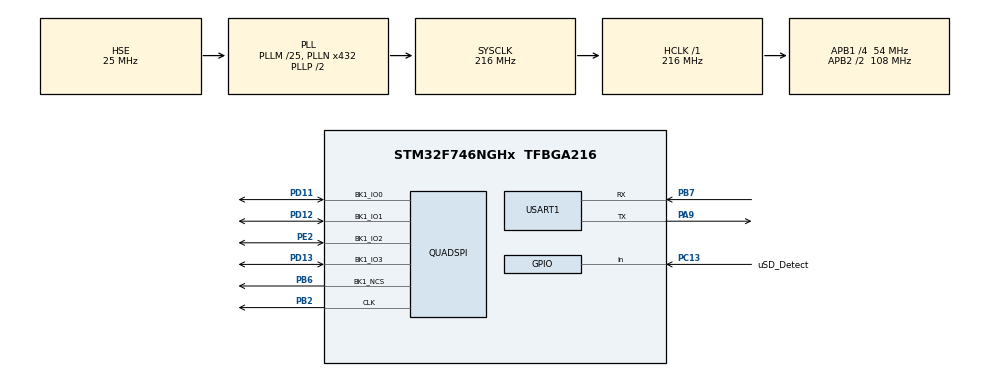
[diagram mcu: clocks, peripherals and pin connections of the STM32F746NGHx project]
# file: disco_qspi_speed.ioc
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CORTEX_M7.AccessPermission_Spec=MPU_REGION_FULL_ACCESS
CORTEX_M7.CPU_DCache=Enabled
CORTEX_M7.CPU_ICache=Enabled
CORTEX_M7.default_mode_Activation=1
Mcu.Family=STM32F7
Mcu.Name=STM32F746NGHx
Mcu.Package=TFBGA216
NVIC.PriorityGroup=NVIC_PRIORITYGROUP_4
NVIC.QUADSPI_IRQn=true\:0\:0\:false\:false\:true\:true\:true\:true
NVIC.TIM7_IRQn=true\:15\:0\:false\:false\:true\:false\:true\:true
NVIC.TimeBase=TIM7_IRQn
NVIC.TimeBaseIP=TIM7
NVIC.USART1_IRQn=true\:0\:0\:false\:false\:true\:true\:true\:true
PA13.Mode=Serial_Wire
PA13.Signal=SYS_JTMS-SWDIO
PA14.Mode=Serial_Wire
PA14.Signal=SYS_JTCK-SWCLK
PA9.Mode=Asynchronous
PA9.Signal=USART1_TX
PB2.Mode=Single Bank 1
PB2.Signal=QUADSPI_CLK
PB6.Mode=Single Bank 1
PB6.Signal=QUADSPI_BK1_NCS
PB7.Mode=Asynchronous
PB7.Signal=USART1_RX
PC13.GPIO_Label=uSD_Detect
PC13.Signal=GPIO_Input
PC14/OSC32_IN.Mode=LSE-External-Oscillator
PC14/OSC32_IN.Signal=RCC_OSC32_IN
PC15/OSC32_OUT.Mode=LSE-External-Oscillator
PC15/OSC32_OUT.Signal=RCC_OSC32_OUT
PC2.Signal=USB_OTG_HS_ULPI_DIR
PC3.Signal=FMC_SDCKE0
PD11.Mode=Single Bank 1
PD11.Signal=QUADSPI_BK1_IO0
PD12.Mode=Single Bank 1
PD12.Signal=QUADSPI_BK1_IO1
PD13.Mode=Single Bank 1
PD13.Signal=QUADSPI_BK1_IO3
PE2.Mode=Single Bank 1
PE2.Signal=QUADSPI_BK1_IO2
PH0/OSC_IN.Mode=HSE-External-Oscillator
PH0/OSC_IN.Signal=RCC_OSC_IN
PH1/OSC_OUT.Mode=HSE-External-Oscillator
PH1/OSC_OUT.Signal=RCC_OSC_OUT
PH4.Signal=USB_OTG_HS_ULPI_NXT
ProjectManager.HeapSize=0x400
ProjectManager.StackSize=0x800
ProjectManager.TargetToolchain=STM32CubeIDE
RCC.AHBFreq_Value=216000000
RCC.APB1CLKDivider=RCC_HCLK_DIV4
RCC.APB1Freq_Value=54000000
RCC.APB1TimFreq_Value=108000000
RCC.APB2CLKDivider=RCC_HCLK_DIV2
RCC.APB2Freq_Value=108000000
RCC.APB2TimFreq_Value=216000000
RCC.CortexFreq_Value=216000000
RCC.HCLKFreq_Value=216000000
RCC.HSE_VALUE=25000000
RCC.HSI_VALUE=16000000
RCC.PLL48CLockSelection=RCC_CLK48SOURCE_PLLSAIP
RCC.PLLI2SN=100
RCC.PLLM=25
RCC.PLLN=432
RCC.PLLQ=8
RCC.PLLSAIP=RCC_PLLSAIP_DIV4
RCC.PLLSAIR=5
RCC.PLLSAIRDiv=RCC_PLLSAIDIVR_8
RCC.PLLSourceVirtual=RCC_PLLSOURCE_HSE
RCC.SDMMCClockSelection=RCC_SDMMC1CLKSOURCE_CLK48
RCC.SYSCLKFreq_VALUE=216000000
RCC.SYSCLKSource=RCC_SYSCLKSOURCE_PLLCLK
RCC.USBFreq_Value=48000000
RCC.VCOOutputFreq_Value=432000000
USART1.VirtualMode-Asynchronous=VM_ASYNC
VP_FATFS_VS_Generic.Mode=User_defined
VP_SYS_VS_tim7.Mode=TIM7
board=STM32F746G-DISCO

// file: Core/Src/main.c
/* USER CODE BEGIN Header */
/**
 ******************************************************************************
 * @file           : main.c
 * @brief          : Main program body
 ******************************************************************************
 * @attention
 *
 * Copyright (c) 2025 STMicroelectronics.
 * All rights reserved.
 *
 * This software is licensed under terms that can be found in the LICENSE file
 * in the root directory of this software component.
 * If no LICENSE file comes with this software, it is provided AS-IS.
 *
 ******************************************************************************
 */
/* USER CODE END Header */
#include "main.h"
#include "fatfs.h"

/* USER CODE BEGIN Includes */
#include <stdio.h>
#include "../../Drivers/BSP/stm32746g_discovery_qspi.h"

/* USER CODE END Includes */

QSPI_HandleTypeDef hqspi;

UART_HandleTypeDef huart1;

/* USER CODE BEGIN PV */
int _write(int file, char *ptr, int len) {
    for (int i = 0; i < len; i++) {
        HAL_UART_Transmit(&huart1, (uint8_t *)&ptr[i], 1, HAL_MAX_DELAY);
    }
    return len;
}

/* USER CODE END PV */

void SystemClock_Config(void);
static void MPU_Config(void);
static void MX_GPIO_Init(void);
static void MX_USART1_UART_Init(void);
static void MX_QUADSPI_Init(void);

/* USER CODE BEGIN 0 */

#define BLOCK_SIZE      65536  		// 64KB Blok
#define CHUNK_SIZE      4096   	//write  4KB  333.33 KB/s read  2285.71 KB/s
//#define CHUNK_SIZE      4096*16   	//write 64KB  333.33 KB/s read	2285.71 KB/s
#define TEST_ADDRESS    0x000000  	// Test için 64KB başlangıç adresi

uint8_t write_buffer[CHUNK_SIZE];
uint8_t read_buffer[CHUNK_SIZE];

void test_qspi_block()
{
    uint32_t start_time, end_time;
    double write_time, read_time, erase_time;
    double write_speed, read_speed;

    printf("QSPI 64KB Test Basladi\n");

    /* 1️⃣ Blok Silme */
    printf("4KB Blok siliniyor...\n");
    start_time = HAL_GetTick();
    if (BSP_QSPI_Erase_SUBSECTOR(TEST_ADDRESS%4096) != QSPI_OK)
    {
        printf("Blok silme hatasi!\n");
        return;
    }
    end_time = HAL_GetTick();
    erase_time = (end_time - start_time) / 1000.0;
    printf("Silme tamamlandi. Sure: %.2f saniye\n", erase_time);

    /* 2️⃣ Blok Halinde Yazma */
    printf("64KB Blok yaziliyor...\n");
    start_time = HAL_GetTick();
    for (uint32_t offset = 0; offset < BLOCK_SIZE; offset += CHUNK_SIZE)
    {
	   for (uint32_t i = 0; i < CHUNK_SIZE; i++)
		{
		   write_buffer[i] = (uint8_t)((offset + i+1) & 0xFF);  // Her adres farklı veri içerecek
		}

        if (BSP_QSPI_Write(write_buffer, TEST_ADDRESS + offset, CHUNK_SIZE) != QSPI_OK)
        {
            printf("Yazma hatasi! Adres: 0x%08lX\n", TEST_ADDRESS + offset);
            return;
        }
    }
    end_time = HAL_GetTick();
    write_time = (end_time - start_time) / 1000.0;
    write_speed = (BLOCK_SIZE / 1024.0) / write_time;
    printf("Yazma tamamlandi. Sure: %.4f saniye, Hiz: %.2f KB/s\n", write_time, write_speed);

    /* 3️⃣ Blok Halinde Okuma ve Karşılaştırma */
    printf("64KB Blok okunuyor ve kontrol ediliyor...\n");
    start_time = HAL_GetTick();
    for (uint32_t offset = 0; offset < BLOCK_SIZE; offset += CHUNK_SIZE)
    {
        if (BSP_QSPI_Read(read_buffer, TEST_ADDRESS + offset, CHUNK_SIZE) != QSPI_OK)
        {
            printf("Okuma hatasi! Adres: 0x%08lX\n", TEST_ADDRESS + offset);
            return;
        }

        for (uint32_t i = 0; i < CHUNK_SIZE; i++)
        {
            if (read_buffer[i] != write_buffer[i])
            {
                printf("Veri hatasi! Adres: 0x%08lX, Yazilan: 0x%02X, Okunan: 0x%02X\n",
                        TEST_ADDRESS + offset + i, write_buffer[i], read_buffer[i]);
                return;
            }
        }
    }
    end_time = HAL_GetTick();
    read_time = (end_time - start_time) / 1000.0;
    read_speed = (BLOCK_SIZE / 1024.0) / read_time;
    printf("Okuma tamamlandi. Sure: %.4f saniye, Hiz: %.2f KB/s\n", read_time, read_speed);

    printf("Test basariyla tamamlandi! Veri dogru yazildi ve okundu.\n");
}

void  erase_all_sector(){
  uint32_t start_tick, end_tick, total_time;

  /* Start timing */
  start_tick = HAL_GetTick();

  printf("earase started\r\n");
  BSP_QSPI_Erase_Chip();
  /* End timing */
  end_tick = HAL_GetTick();
  total_time = end_tick - start_tick;

  /* Print the total time taken */
  printf("Toplam silme suresi: %lu sn\r\n", total_time);
  printf("Toplam silme suresi:  %.4f sn\r\n",(double) total_time/1000.0);

}

void info_flash(){
	  QSPI_Info qspiInfo;

	  BSP_QSPI_GetInfo(&qspiInfo);

	  printf("Flash Size: %lu bytes\n", qspiInfo.FlashSize);
	  printf("Erase Sector Size: %lu bytes\n", qspiInfo.EraseSectorSize);
	  printf("Erase Sectors Number: %lu\n", qspiInfo.EraseSectorsNumber);
	  printf("Program Page Size: %lu bytes\n", qspiInfo.ProgPageSize);
	  printf("Program Pages Number: %lu\n", qspiInfo.ProgPagesNumber);

}

/* USER CODE END 0 */

int main(void)
{

  /* MPU Configuration--------------------------------------------------------*/
  MPU_Config();

  /* Enable the CPU Cache */

  /* Enable I-Cache---------------------------------------------------------*/
  SCB_EnableICache();

  /* Enable D-Cache---------------------------------------------------------*/
  SCB_EnableDCache();

  /* MCU Configuration--------------------------------------------------------*/

  /* Reset of all peripherals, Initializes the Flash interface and the Systick. */
  HAL_Init();

  /* Configure the system clock */
  SystemClock_Config();

  /* Initialize all configured peripherals */
  MX_GPIO_Init();
  MX_USART1_UART_Init();
  MX_FATFS_Init();
  MX_QUADSPI_Init();
  /* USER CODE BEGIN 2 */
  setvbuf(stdout, NULL, _IONBF, 0);
  BSP_QSPI_Init();
  info_flash();
  //erase_all_sector();
  /* USER CODE END 2 */

  /* Infinite loop */
  /* USER CODE BEGIN WHILE */

  test_qspi_block();

  /* Fill the write buffer with some data */
  //int  hi=0;
	while (1) {
	 // printf("hi %i\r\n",hi++);
	  HAL_Delay(5000);

    /* USER CODE END WHILE */

	}
}

void SystemClock_Config(void)
{
  RCC_OscInitTypeDef RCC_OscInitStruct = {0};
  RCC_ClkInitTypeDef RCC_ClkInitStruct = {0};

  /** Configure LSE Drive Capability
  */
  HAL_PWR_EnableBkUpAccess();

  /** Configure the main internal regulator output voltage
  */
  __HAL_RCC_PWR_CLK_ENABLE();
  __HAL_PWR_VOLTAGESCALING_CONFIG(PWR_REGULATOR_VOLTAGE_SCALE1);

  /** Initializes the RCC Oscillators according to the specified parameters
  * in the RCC_OscInitTypeDef structure.
  */
  RCC_OscInitStruct.OscillatorType = RCC_OSCILLATORTYPE_HSE;
  RCC_OscInitStruct.HSEState = RCC_HSE_ON;
  RCC_OscInitStruct.PLL.PLLState = RCC_PLL_ON;
  RCC_OscInitStruct.PLL.PLLSource = RCC_PLLSOURCE_HSE;
  RCC_OscInitStruct.PLL.PLLM = 25;
  RCC_OscInitStruct.PLL.PLLN = 432;
  RCC_OscInitStruct.PLL.PLLP = RCC_PLLP_DIV2;
  RCC_OscInitStruct.PLL.PLLQ = 8;
  if (HAL_RCC_OscConfig(&RCC_OscInitStruct) != HAL_OK)
  {
    Error_Handler();
  }

  /** Activate the Over-Drive mode
  */
  if (HAL_PWREx_EnableOverDrive() != HAL_OK)
  {
    Error_Handler();
  }

  /** Initializes the CPU, AHB and APB buses clocks
  */
  RCC_ClkInitStruct.ClockType = RCC_CLOCKTYPE_HCLK|RCC_CLOCKTYPE_SYSCLK
                              |RCC_CLOCKTYPE_PCLK1|RCC_CLOCKTYPE_PCLK2;
  RCC_ClkInitStruct.SYSCLKSource = RCC_SYSCLKSOURCE_PLLCLK;
  RCC_ClkInitStruct.AHBCLKDivider = RCC_SYSCLK_DIV1;
  RCC_ClkInitStruct.APB1CLKDivider = RCC_HCLK_DIV4;
  RCC_ClkInitStruct.APB2CLKDivider = RCC_HCLK_DIV2;

  if (HAL_RCC_ClockConfig(&RCC_ClkInitStruct, FLASH_LATENCY_7) != HAL_OK)
  {
    Error_Handler();
  }
}

static void MX_QUADSPI_Init(void)
{

  /* QUADSPI parameter configuration*/
  hqspi.Instance = QUADSPI;
  hqspi.Init.ClockPrescaler = 255;
  hqspi.Init.FifoThreshold = 1;
  hqspi.Init.SampleShifting = QSPI_SAMPLE_SHIFTING_NONE;
  hqspi.Init.FlashSize = 1;
  hqspi.Init.ChipSelectHighTime = QSPI_CS_HIGH_TIME_1_CYCLE;
  hqspi.Init.ClockMode = QSPI_CLOCK_MODE_0;
  hqspi.Init.FlashID = QSPI_FLASH_ID_1;
  hqspi.Init.DualFlash = QSPI_DUALFLASH_DISABLE;
  if (HAL_QSPI_Init(&hqspi) != HAL_OK)
  {
    Error_Handler();
  }

}

static void MX_USART1_UART_Init(void)
{

  huart1.Instance = USART1;
  huart1.Init.BaudRate = 115200;
  huart1.Init.WordLength = UART_WORDLENGTH_8B;
  huart1.Init.StopBits = UART_STOPBITS_1;
  huart1.Init.Parity = UART_PARITY_NONE;
  huart1.Init.Mode = UART_MODE_TX_RX;
  huart1.Init.HwFlowCtl = UART_HWCONTROL_NONE;
  huart1.Init.OverSampling = UART_OVERSAMPLING_16;
  huart1.Init.OneBitSampling = UART_ONE_BIT_SAMPLE_DISABLE;
  huart1.AdvancedInit.AdvFeatureInit = UART_ADVFEATURE_NO_INIT;
  if (HAL_UART_Init(&huart1) != HAL_OK)
  {
    Error_Handler();
  }

}

static void MX_GPIO_Init(void)
{
  GPIO_InitTypeDef GPIO_InitStruct = {0};

  /* GPIO Ports Clock Enable */
  __HAL_RCC_GPIOE_CLK_ENABLE();
  __HAL_RCC_GPIOA_CLK_ENABLE();
  __HAL_RCC_GPIOB_CLK_ENABLE();
  __HAL_RCC_GPIOC_CLK_ENABLE();
  __HAL_RCC_GPIOH_CLK_ENABLE();
  __HAL_RCC_GPIOD_CLK_ENABLE();

  /*Configure GPIO pin : uSD_Detect_Pin */
  GPIO_InitStruct.Pin = uSD_Detect_Pin;
  GPIO_InitStruct.Mode = GPIO_MODE_INPUT;
  GPIO_InitStruct.Pull = GPIO_NOPULL;
  HAL_GPIO_Init(uSD_Detect_GPIO_Port, &GPIO_InitStruct);

  /*Configure GPIO pin : PH4 */
  GPIO_InitStruct.Pin = GPIO_PIN_4;
  GPIO_InitStruct.Mode = GPIO_MODE_AF_PP;
  GPIO_InitStruct.Pull = GPIO_NOPULL;
  GPIO_InitStruct.Speed = GPIO_SPEED_FREQ_VERY_HIGH;
  GPIO_InitStruct.Alternate = GPIO_AF10_OTG_HS;
  HAL_GPIO_Init(GPIOH, &GPIO_InitStruct);

  /*Configure GPIO pin : PC3 */
  GPIO_InitStruct.Pin = GPIO_PIN_3;
  GPIO_InitStruct.Mode = GPIO_MODE_AF_PP;
  GPIO_InitStruct.Pull = GPIO_NOPULL;
  GPIO_InitStruct.Speed = GPIO_SPEED_FREQ_VERY_HIGH;
  GPIO_InitStruct.Alternate = GPIO_AF12_FMC;
  HAL_GPIO_Init(GPIOC, &GPIO_InitStruct);

  /*Configure GPIO pin : PC2 */
  GPIO_InitStruct.Pin = GPIO_PIN_2;
  GPIO_InitStruct.Mode = GPIO_MODE_AF_PP;
  GPIO_InitStruct.Pull = GPIO_NOPULL;
  GPIO_InitStruct.Speed = GPIO_SPEED_FREQ_VERY_HIGH;
  GPIO_InitStruct.Alternate = GPIO_AF10_OTG_HS;
  HAL_GPIO_Init(GPIOC, &GPIO_InitStruct);

}

 /* MPU Configuration */

void MPU_Config(void)
{
  MPU_Region_InitTypeDef MPU_InitStruct = {0};

  /* Disables the MPU */
  HAL_MPU_Disable();

  /** Initializes and configures the Region and the memory to be protected
  */
  MPU_InitStruct.Enable = MPU_REGION_ENABLE;
  MPU_InitStruct.Number = MPU_REGION_NUMBER0;
  MPU_InitStruct.BaseAddress = 0x0;
  MPU_InitStruct.Size = MPU_REGION_SIZE_4GB;
  MPU_InitStruct.SubRegionDisable = 0x87;
  MPU_InitStruct.TypeExtField = MPU_TEX_LEVEL0;
  MPU_InitStruct.AccessPermission = MPU_REGION_FULL_ACCESS;
  MPU_InitStruct.DisableExec = MPU_INSTRUCTION_ACCESS_DISABLE;
  MPU_InitStruct.IsShareable = MPU_ACCESS_SHAREABLE;
  MPU_InitStruct.IsCacheable = MPU_ACCESS_NOT_CACHEABLE;
  MPU_InitStruct.IsBufferable = MPU_ACCESS_NOT_BUFFERABLE;

  HAL_MPU_ConfigRegion(&MPU_InitStruct);
  /* Enables the MPU */
  HAL_MPU_Enable(MPU_PRIVILEGED_DEFAULT);

}

void HAL_TIM_PeriodElapsedCallback(TIM_HandleTypeDef *htim)
{
  if (htim->Instance == TIM7) {
    HAL_IncTick();
  }
}

void Error_Handler(void)
{
	__disable_irq();
	while (1) {
	}
}

#ifdef  USE_FULL_ASSERT
/**
  * @brief  Reports the name of the source file and the source line number
  *         where the assert_param error has occurred.
  * @param  file: pointer to the source file name
  * @param  line: assert_param error line source number
  * @retval None
  */
void assert_failed(uint8_t *file, uint32_t line)
{
  /* USER CODE BEGIN 6 */
  /* User can add his own implementation to report the file name and line number,
     ex: UART_Print("Wrong parameters value: file %s on line %d\r\n", file, line) */
  /* USER CODE END 6 */
}
#endif /* USE_FULL_ASSERT */
